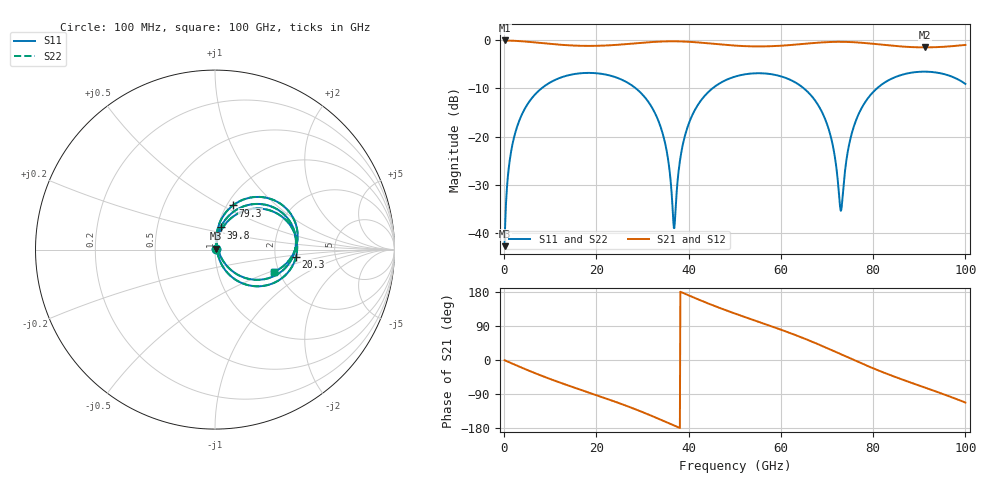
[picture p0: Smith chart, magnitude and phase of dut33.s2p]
! Touchstone file exported from HFSS 2026.1.0
!  File:  C:/ffzhzh/LocalFiles/Ansys_Project_Files/temp_train_TSV_RDL_33_1783441255_41684.aedt
!  Generated:  12:28:51 AM Jul  8, 2026
!  Design:  TSV_RDL
!  Project:  temp_train_TSV_RDL_33_1783441255_41684
! Variables:
!  h_bsmrdl = 3.25um
!  h_ox = 20um
!  h_rdl = 5um
!  h_sub = 72.94um
!  h_tmrdl = 4.47um
!  h_tsv = 72.94um
!  h_via = 3um
!  l_bsmrdl = 161.9um
!  l_sub = 1548.3um
!  l_tmrdl = 127.64um
!  m_sub = 200um
!  pitch = 55.48um
!  r_tsv = 9.17um
!  s_tmrdl = 10um
!  w_bsmrdl = 26.86um
!  w_sub = 500um
!  w_tmrdl = 23.82um
!  x_tsv_center1 = 139.55um
!  x_tsv_center2 = 328.31um
!  x_tsv_center3 = 479.77um
!  x_tsv_center4 = 668.53um
!  x_tsv_center5 = 819.99um
!  x_tsv_center6 = 1008.75um
# GHz S MA R 50.000000
! Terminal data exported
! Port[1] = TM_RDL1_1_T1
! Port[2] = TM_RDL5_1_T1
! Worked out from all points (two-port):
!   1000 points, 100 MHz to 100 GHz, reference 50 ohm
!   highest |S21| = -0.05 dB at 100 MHz (marker M1); lowest = -1.5 dB at 91.2 GHz (marker M2)
!   |S21| within 3 dB of the highest: start of sweep to end of sweep
!   lowest |S11| = -42.7 dB at 100 MHz (marker M3), VSWR 1.01, Z = 50.5 + j0.504 ohm
!   |S11| at or under -10 dB: start of sweep to 8.087 GHz; 28.57 GHz to 45.15 GHz (16.58 GHz wide, 45 % of centre); 65 GHz to 80.81 GHz (15.82 GHz wide, 21.7 % of centre)
!   |S22| runs from -42.7 to -6.5 dB; largest |S21 - S12| = 1.9e-14
!   S11 on the Smith chart (normalised r, x): 100 MHz: 1.01, +0.01; 20.3 GHz: 2.63, -0.27; 39.8 GHz: 1.03, +0.26; 79.3 GHz: 1.07, +0.57; 100 GHz: 1.89, -0.53
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0.1  0.007308 43.1  0.9947 -0.6  0.9947 -0.6  0.007308 43.1
! Gamma 0 0 0 0
! Port Impedance 50 0 50 0
1.5  0.06974 75.7  0.99 -8.1  0.99 -8.1  0.06974 75.7
4.1  0.1798 64.9  0.9733 -21.8  0.9733 -21.8  0.1798 64.9
16.8  0.4554 9.0  0.8752 -79.5  0.8752 -79.5  0.4554 9.0
20.3  0.4532 -5.1  0.8757 -94.0  0.8757 -94.0  0.4532 -5.1
28.3  0.3239 -39.1  0.9272 -129.3  0.9272 -129.3  0.3239 -39.1
33.4  0.1476 -61.7  0.9664 -154.7  0.9664 -154.7  0.1476 -61.7
35.3  0.06832 -66.5  0.9735 -164.6  0.9735 -164.6  0.06833 -66.5
36.8  0.01125 -4.6  0.9747 -172.6  0.9747 -172.6  0.01125 -4.6
38.3  0.06414 78.6  0.9718 179.5  0.9718 179.5  0.06413 78.6
39.8  0.1271 75.7  0.9649 171.6  0.9649 171.6  0.1271 75.7
43.8  0.2753 58.5  0.9332 151.3  0.9332 151.3  0.2753 58.5
50.1  0.4201 30.9  0.8792 122.3  0.8792 122.3  0.4201 30.9
58.2  0.4421 -2.4  0.8684 87.9  0.8684 87.9  0.4421 -2.4
66.7  0.2622 -39.2  0.9324 48.6  0.9324 48.6  0.2622 -39.4
70.6  0.1094 -54.0  0.9586 28.2  0.9586 28.2  0.1093 -54.4
73  0.01698 13.3  0.963 15.2  0.963 15.2  0.01612 13.1
75.4  0.1095 82.6  0.956 2.1  0.956 2.1  0.1093 83.1
79.3  0.266 67.8  0.9252 -18.4  0.9252 -18.4  0.2659 68.0
83.4  0.3859 49.4  0.8839 -38.4  0.8839 -38.4  0.3859 49.6
91.2  0.472 16.8  0.8432 -72.7  0.8432 -72.7  0.472 16.9
100  0.3521 -20.5  0.8936 -112.3  0.8936 -112.3  0.3521 -20.4
